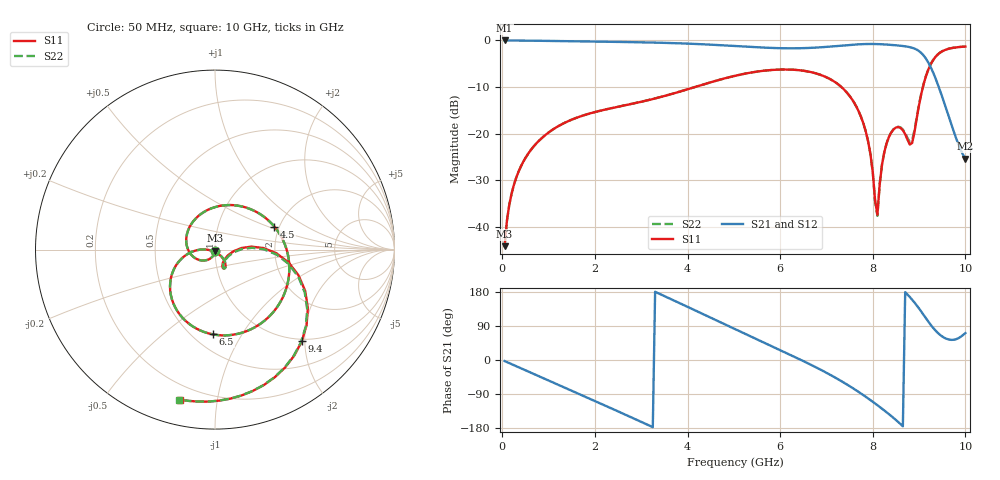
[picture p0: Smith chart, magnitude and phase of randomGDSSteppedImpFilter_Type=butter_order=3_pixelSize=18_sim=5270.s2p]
! freq	dB(S11)	phase(S11)	dB(S12)	phase(S12)
!  dB(S21)	phase(S21)	dB(S22)	phase(S22)
!S-par simulation data
#  GHz  S  DB  R 50
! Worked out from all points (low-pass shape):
!   200 points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, 50 MHz to 10 GHz, reference 50 ohm
!   highest |S21| = -0.02 dB at 50 MHz (marker M1); lowest = -25.4 dB at 10 GHz (marker M2)
!   |S21| within 3 dB of the highest: start of sweep to 9.077 GHz
!   lowest |S11| = -44.2 dB at 50 MHz (marker M3), VSWR 1.01, Z = 50.1 - j0.613 ohm
!   |S11| at or under -10 dB: start of sweep to 4.165 GHz; 7.32 GHz to 9.084 GHz (1.763 GHz wide, 21.5 % of centre)
!   |S22| runs from -44.2 to -1.3 dB; largest |S21 - S12| = 0
!   S11 on the Smith chart (normalised r, x): 50 MHz: 1.00, -0.01; 4.5 GHz: 1.88, +0.55; 6.5 GHz: 0.62, -0.76; 9.4 GHz: 0.96, -1.94; 10 GHz: 0.12, -0.79
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0.05  -44.18 -82.3  -0.02 -2.7  -0.02 -2.7  -44.18 -82.3
0.2  -32.93 -98.4  -0.03 -10.9  -0.03 -10.9  -32.93 -98.4
0.5  -25.24 -117.2  -0.05 -27.1  -0.05 -27.1  -25.24 -117.2
1.15  -18.77 -153.1  -0.13 -62.3  -0.13 -62.3  -18.77 -153.3
1.75  -16.11 174.2  -0.22 -94.7  -0.22 -94.7  -16.11 174.0
2.65  -13.94 125.1  -0.35 -143.8  -0.35 -143.8  -13.93 124.8
3.4  -12.21 83.4  -0.50 174.4  -0.50 174.4  -12.21 83.1
4.5  -9.00 21.1  -0.92 111.6  -0.92 111.6  -9.00 20.9
5.05  -7.55 -10.0  -1.23 80.1  -1.23 80.1  -7.55 -10.2
5.8  -6.37 -52.0  -1.61 37.5  -1.61 37.5  -6.37 -52.0
6.5  -6.51 -91.4  -1.67 -2.8  -1.67 -2.8  -6.51 -91.4
6.7  -6.89 -103.1  -1.59 -14.8  -1.59 -14.8  -6.89 -103.1
7.2  -9.05 -134.3  -1.23 -47.2  -1.23 -47.2  -9.05 -134.2
7.7  -15.33 -168.4  -0.84 -84.7  -0.84 -84.7  -15.33 -168.3
7.95  -24.43 179.1  -0.77 -105.8  -0.77 -105.8  -24.45 179.0
8.1  -37.44 -87.3  -0.79 -119.3  -0.79 -119.3  -37.67 -85.6
8.2  -26.63 -47.6  -0.83 -128.5  -0.83 -128.5  -26.62 -46.6
8.35  -20.72 -52.3  -0.93 -143.0  -0.93 -143.0  -20.69 -51.4
8.85  -22.04 -23.8  -1.58 159.2  -1.58 159.2  -21.45 -24.4
9.05  -11.38 1.9  -2.73 127.4  -2.73 127.4  -11.28 0.3
9.4  -3.06 -46.5  -9.33 72.1  -9.33 72.1  -3.05 -47.2
10  -1.33 -103.0  -25.37 71.1  -25.37 71.1  -1.32 -103.4
